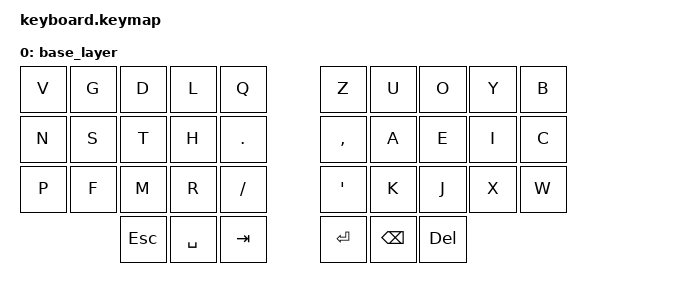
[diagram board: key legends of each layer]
/*
 * Copyright (c) 2021 The ZMK Contributors
 *
 * SPDX-License-Identifier: MIT
 */

#include <behaviors.dtsi>
#include <dt-bindings/zmk/keys.h>

/ {

	keymap {
		compatible = "zmk,keymap";

		// This is a sample keymap intended to be replaced with your own
		base_layer {
			bindings = <
				&kp V     &kp G     &kp D     &kp L     &kp Q     &kp Z     &kp U     &kp O     &kp Y     &kp B
				&kp N     &kp S     &kp T     &kp H     &kp DOT   &kp COMMA &kp A     &kp E     &kp I     &kp C
				&kp P     &kp F     &kp M     &kp R     &kp SLASH &kp APOS  &kp K     &kp J     &kp X     &kp W
				                    &kp ESC   &kp SPC   &kp TAB   &kp ENTER &kp BSPC  &kp DEL
			>;
		};

	};
};
